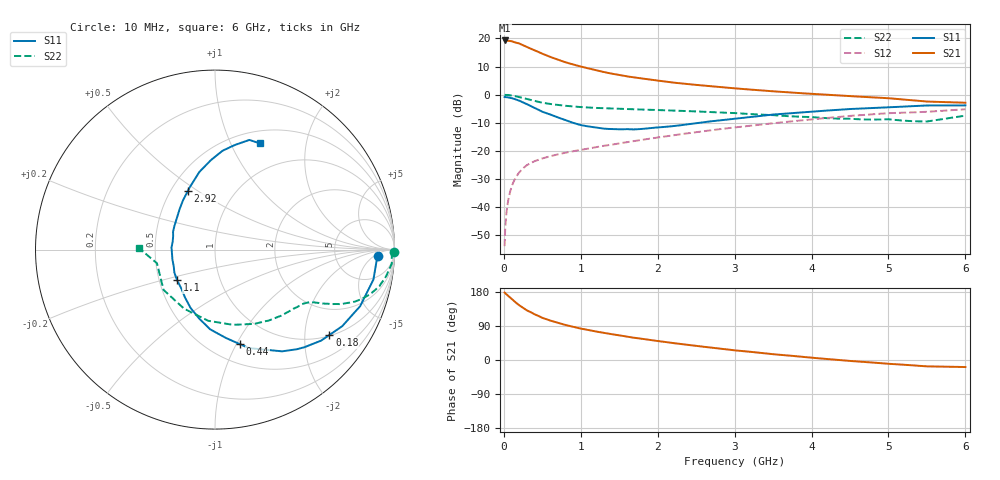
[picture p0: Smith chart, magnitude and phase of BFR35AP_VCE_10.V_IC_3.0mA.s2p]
! Infineon Technologies  Discrete & RF Semiconductors
! BFR35AP
! VCE =  10. V,  IC =  3.0 mA
! Common Emitter S-Parameters:  Nov 2015
# GHz  S  MA  R  50
!  f  S11  S21  S12  S22
! GHz  MAG  ANG  MAG  ANG  MAG  ANG  MAG  ANG
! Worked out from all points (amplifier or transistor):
!   210 points, 10 MHz to 6 GHz, reference 50 ohm
!   highest |S21| = 19.3 dB at 10 MHz (marker M1)
!   |S21| within 3 dB of that: start of sweep to 356.3 MHz
!   unconditionally stable (mu >= 1): 1.049 GHz to 3.133 GHz
!   at 185 MHz: K = 0.28, MSG = 23.3 dB, |S12| = -28.3 dB
!   at 1.52 GHz: K = 1.11, MAG = 10.1 dB, |S12| = -17.3 dB
!   at 6 GHz: K = 0.90, MSG = 1.2 dB, |S12| = -5.2 dB
!   S11 on the Smith chart (normalised r, x): 10 MHz: 18, -7; 180 MHz: 1.03, -2.66; 440 MHz: 0.69, -1.03; 1.1 GHz: 0.62, -0.23; 2.92 GHz: 0.61, +0.46; 6 GHz: 0.64, +1.30
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0.01  0.9086 -2.2  9.206 178.0  0.002 83.8  0.9968 -0.9
0.025  0.9007 -5.3  9.043 174.9  0.0057 88.4  0.9855 -2.2
0.06  0.8899 -12.8  9.101 168.8  0.0138 81.2  0.9832 -5.3
0.1  0.8681 -21.3  8.941 161.6  0.0229 78.1  0.9652 -8.8
0.15  0.8271 -31.1  8.484 152.3  0.0326 72.8  0.9379 -12.6
0.18  0.7956 -36.7  8.251 147.7  0.0377 69.6  0.9161 -14.5
0.24  0.7381 -47.4  7.681 138.8  0.0472 65.1  0.8716 -17.9
0.3  0.6789 -56.6  7.023 131.0  0.0555 62.2  0.8317 -20.4
0.44  0.5439 -75.3  5.822 117.2  0.0683 56.5  0.7477 -23.9
0.5  0.4958 -83.0  5.345 111.2  0.0729 55.2  0.7158 -25.1
0.6  0.4444 -93.6  4.704 104.3  0.0797 53.8  0.6807 -26.2
0.7  0.3936 -103.0  4.2 98.1  0.0862 52.8  0.6546 -27.1
0.9  0.3143 -122.2  3.435 87.3  0.098 52.9  0.6134 -28.5
1.02  0.2829 -132.8  3.112 82.2  0.1047 53.3  0.5975 -29.5
1.1  0.2716 -141.0  2.926 79.0  0.1096 53.8  0.5888 -30.3
1.6  0.2426 177.3  2.111 61.6  0.1423 54.9  0.5538 -35.9
2.02  0.2614 150.0  1.756 49.6  0.1737 55.4  0.5299 -41.8
2.92  0.3617 114.6  1.323 27.4  0.2527 51.7  0.4734 -59.9
3.1  0.3851 110.0  1.261 23.7  0.2696 50.2  0.4592 -64.6
4.1  0.5093 91.1  1.012 4.3  0.3724 40.6  0.3885 -99.6
5.1  0.6028 77.7  0.839 -11.2  0.4716 26.5  0.3527 -146.4
6  0.6427 67.1  0.717 -18.6  0.5482 15.1  0.4219 179.1
